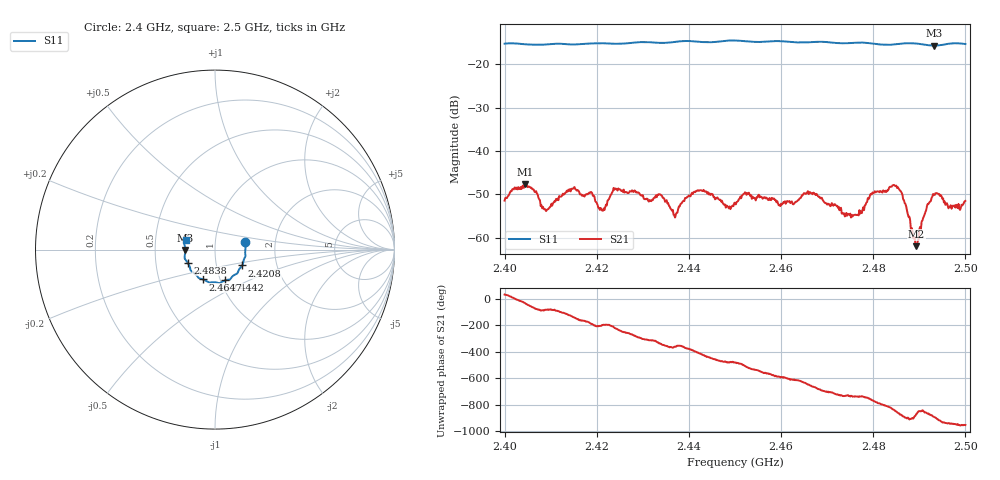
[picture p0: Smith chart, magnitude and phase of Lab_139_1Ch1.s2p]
# Hz S RI R 50
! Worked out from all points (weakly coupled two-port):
!   601 points, 2.4 GHz to 2.5 GHz, reference 50 ohm
!   highest |S21| = -47.69 dB at 2.4045 GHz (marker M1); lowest = -61.9 dB at 2.4893 GHz (marker M2)
!   lowest |S11| = -15.6 dB at 2.4932 GHz (marker M3), VSWR 1.40, Z = 35.8 - j0.116 ohm
!   |S11| at or under -10 dB: start of sweep to end of sweep
!   S12 and S22 are empty: the file has one direction only
!   S11 on the Smith chart (normalised r, x): 2.4 GHz: 1.40, +0.12; 2.4208 GHz: 1.33, -0.24; 2.4442 GHz: 1.05, -0.37; 2.4647 GHz: 0.83, -0.28; 2.4838 GHz: 0.73, -0.11; 2.5 GHz: 0.71, +0.08
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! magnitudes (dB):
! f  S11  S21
! 2.4 GHz  -15.2  -51.4
! 2.4045 GHz  -15.4  -47.7
! 2.409 GHz  -15.4  -53.8
! 2.4147 GHz  -15.4  -48.7
! 2.4167 GHz  -15.3  -50.0
! 2.4208 GHz  -15.1  -53.1
! 2.4242 GHz  -15.2  -48.7
! 2.4333 GHz  -15.0  -50.1
! 2.437 GHz  -14.8  -55.3
! 2.441 GHz  -14.7  -49.5
! 2.4442 GHz  -14.9  -49.5
! 2.45 GHz  -14.5  -51.9
! 2.4525 GHz  -14.7  -50.1
! 2.4647 GHz  -14.9  -50.2
! 2.4667 GHz  -14.8  -49.7
! 2.4757 GHz  -15.0  -54.9
! 2.4833 GHz  -15.5  -48.8
! 2.4838 GHz  -15.5  -48.2
! 2.4858 GHz  -15.2  -49.1
! 2.4893 GHz  -15.2  -61.9
! 2.4932 GHz  -15.6  -50.1
! 2.5 GHz  -15.3  -51.5
